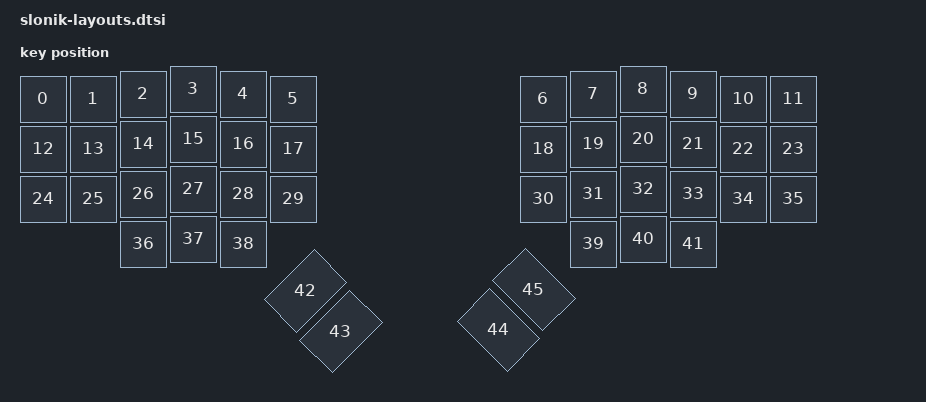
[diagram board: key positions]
#include <physical_layouts.dtsi>
/ {
    physical_layout0: physical_layout_0 {
        compatible = "zmk,physical-layout";
        display-name = "Pahom layout";
        keys  //                     w   h    x    y     rot    rx    ry
            = <&key_physical_attrs 100 100    0   20       0     0     0>
            , <&key_physical_attrs 100 100  100   20       0     0     0>
            , <&key_physical_attrs 100 100  200   10       0     0     0>
            , <&key_physical_attrs 100 100  300    0       0     0     0>
            , <&key_physical_attrs 100 100  400   10       0     0     0>
            , <&key_physical_attrs 100 100  500   20       0     0     0>
            , <&key_physical_attrs 100 100 1000   20       0     0     0>
            , <&key_physical_attrs 100 100 1100   10       0     0     0>
            , <&key_physical_attrs 100 100 1200    0       0     0     0>
            , <&key_physical_attrs 100 100 1300   10       0     0     0>
            , <&key_physical_attrs 100 100 1400   20       0     0     0>
            , <&key_physical_attrs 100 100 1500   20       0     0     0>
            , <&key_physical_attrs 100 100    0  120       0     0     0>
            , <&key_physical_attrs 100 100  100  120       0     0     0>
            , <&key_physical_attrs 100 100  200  110       0     0     0>
            , <&key_physical_attrs 100 100  300  100       0     0     0>
            , <&key_physical_attrs 100 100  400  110       0     0     0>
            , <&key_physical_attrs 100 100  500  120       0     0     0>
            , <&key_physical_attrs 100 100 1000  120       0     0     0>
            , <&key_physical_attrs 100 100 1100  110       0     0     0>
            , <&key_physical_attrs 100 100 1200  100       0     0     0>
            , <&key_physical_attrs 100 100 1300  110       0     0     0>
            , <&key_physical_attrs 100 100 1400  120       0     0     0>
            , <&key_physical_attrs 100 100 1500  120       0     0     0>
            , <&key_physical_attrs 100 100    0  220       0     0     0>
            , <&key_physical_attrs 100 100  100  220       0     0     0>
            , <&key_physical_attrs 100 100  200  210       0     0     0>
            , <&key_physical_attrs 100 100  300  200       0     0     0>
            , <&key_physical_attrs 100 100  400  210       0     0     0>
            , <&key_physical_attrs 100 100  500  220       0     0     0>
            , <&key_physical_attrs 100 100 1000  220       0     0     0>
            , <&key_physical_attrs 100 100 1100  210       0     0     0>
            , <&key_physical_attrs 100 100 1200  200       0     0     0>
            , <&key_physical_attrs 100 100 1300  210       0     0     0>
            , <&key_physical_attrs 100 100 1400  220       0     0     0>
            , <&key_physical_attrs 100 100 1500  220       0     0     0>
            , <&key_physical_attrs 100 100  200  310       0     0     0>
            , <&key_physical_attrs 100 100  300  300       0     0     0>
            , <&key_physical_attrs 100 100  400  310       0     0     0>
            , <&key_physical_attrs 100 100 1100  310       0     0     0>
            , <&key_physical_attrs 100 100 1200  300       0     0     0>
            , <&key_physical_attrs 100 100 1300  310       0     0     0>
            , <&key_physical_attrs 100 150  500  410    4500   600   500>
            , <&key_physical_attrs 100 150  600  420    4500   600   510>
            , <&key_physical_attrs 100 150  900  420 (-4500)  1000   500>
            , <&key_physical_attrs 100 150 1000  410 (-4500)  1000   490>
            ;
    };
};
